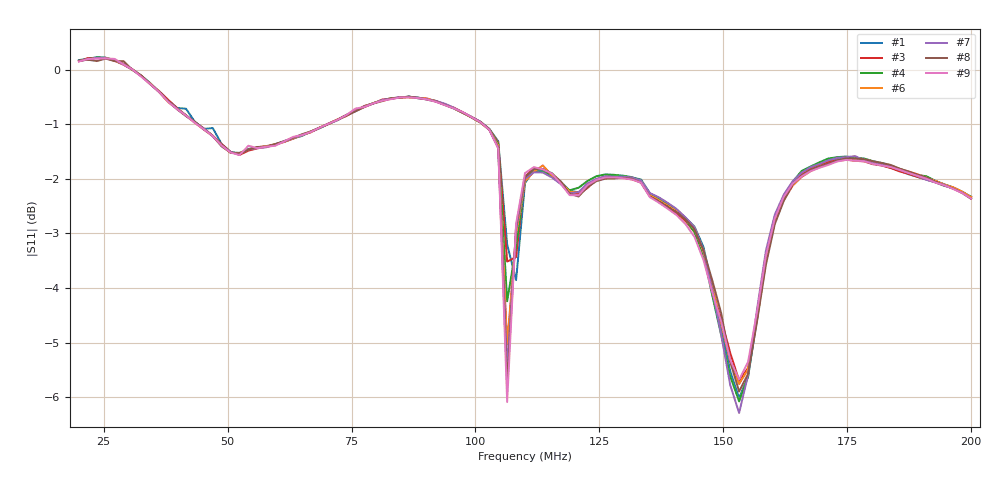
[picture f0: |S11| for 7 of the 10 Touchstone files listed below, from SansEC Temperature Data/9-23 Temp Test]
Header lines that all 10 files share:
# HZ S RI R 50
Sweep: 20 MHz to 200 MHz
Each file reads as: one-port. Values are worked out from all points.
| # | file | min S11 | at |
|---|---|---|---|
| 1 | 31.15C.s1p | -6.0 dB | 153.2 MHz |
| 2 | 32.2C.s1p | -6.0 dB | 153.2 MHz |
| 3 | 33.35C.s1p | -5.7 dB | 153.2 MHz |
| 4 | 34.5C.s1p | -6.1 dB | 153.2 MHz |
| 5 | 35.4C.s1p | -6.1 dB | 153.2 MHz |
| 6 | 36.5C.s1p | -5.8 dB | 153.2 MHz |
| 7 | 37.3C.s1p | -6.3 dB | 153.2 MHz |
| 8 | 38.0C.s1p | -5.9 dB | 153.2 MHz |
| 9 | 38.5C.s1p | -6.1 dB | 106.4 MHz |
| 10 | 38.9C.s1p | -6.1 dB | 106.4 MHz |
